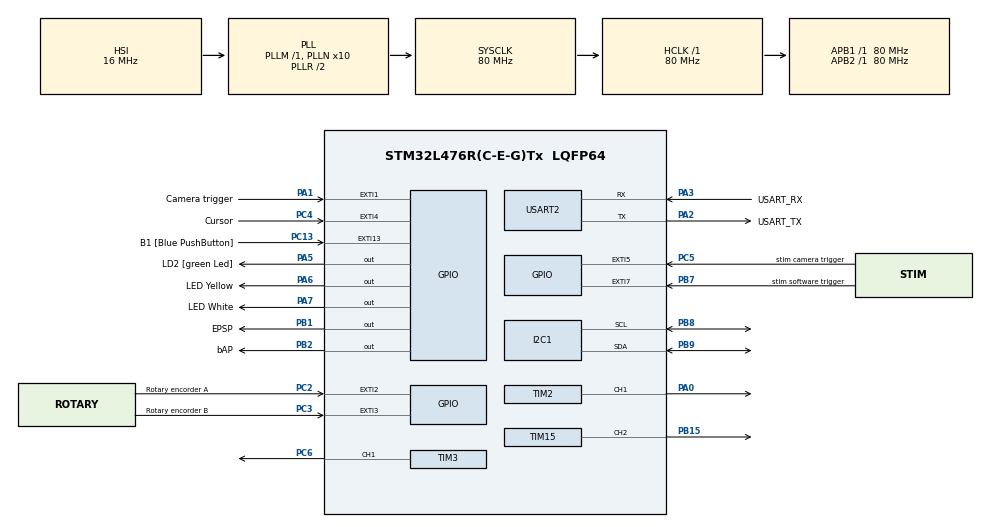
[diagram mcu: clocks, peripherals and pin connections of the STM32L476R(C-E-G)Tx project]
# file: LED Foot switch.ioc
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I2C1.Timing=0x10909CEC
Mcu.Family=STM32L4
Mcu.Name=STM32L476R(C-E-G)Tx
Mcu.Package=LQFP64
NVIC.EXTI15_10_IRQn=true\:4\:0\:true\:false\:true\:true\:true\:true
NVIC.EXTI1_IRQn=true\:1\:0\:true\:false\:true\:true\:true\:true
NVIC.EXTI2_IRQn=true\:3\:0\:true\:false\:true\:true\:true\:true
NVIC.EXTI3_IRQn=true\:3\:0\:true\:false\:true\:true\:true\:true
NVIC.EXTI4_IRQn=true\:3\:0\:true\:false\:true\:true\:true\:true
NVIC.EXTI9_5_IRQn=true\:3\:0\:true\:false\:true\:true\:true\:true
NVIC.PriorityGroup=NVIC_PRIORITYGROUP_4
NVIC.TIM6_DAC_IRQn=true\:0\:0\:false\:false\:true\:true\:true\:true
NVIC.TIM7_IRQn=true\:0\:0\:false\:false\:true\:true\:true\:true
PA0.Signal=S_TIM2_CH1
PA1.GPIO_Label=Camera trigger
PA1.GPIO_PuPd=GPIO_PULLUP
PA1.Signal=GPXTI1
PA13\ (JTMS-SWDIO).GPIO_Label=TMS
PA13\ (JTMS-SWDIO).Mode=Serial_Wire
PA13\ (JTMS-SWDIO).Signal=SYS_JTMS-SWDIO
PA14\ (JTCK-SWCLK).GPIO_Label=TCK
PA14\ (JTCK-SWCLK).Mode=Serial_Wire
PA14\ (JTCK-SWCLK).Signal=SYS_JTCK-SWCLK
PA2.GPIO_Label=USART_TX
PA2.GPIO_Mode=GPIO_MODE_AF_PP
PA2.GPIO_PuPd=GPIO_NOPULL
PA2.GPIO_Speed=GPIO_SPEED_FREQ_VERY_HIGH
PA2.Mode=Asynchronous
PA2.Signal=USART2_TX
PA3.GPIO_Label=USART_RX
PA3.GPIO_Mode=GPIO_MODE_AF_PP
PA3.GPIO_PuPd=GPIO_NOPULL
PA3.GPIO_Speed=GPIO_SPEED_FREQ_VERY_HIGH
PA3.Mode=Asynchronous
PA3.Signal=USART2_RX
PA5.GPIO_Label=LD2 [green Led]
PA5.GPIO_ModeDefaultOutputPP=GPIO_MODE_OUTPUT_PP
PA5.GPIO_PuPd=GPIO_NOPULL
PA5.GPIO_Speed=GPIO_SPEED_FREQ_LOW
PA5.Signal=GPIO_Output
PA6.GPIO_Label=LED Yellow
PA6.Signal=GPIO_Output
PA7.GPIO_Label=LED White
PA7.Signal=GPIO_Output
PB1.GPIO_Label=EPSP
PB1.GPIO_PuPd=GPIO_NOPULL
PB1.PinState=GPIO_PIN_RESET
PB1.Signal=GPIO_Output
PB15.Signal=S_TIM15_CH2
PB2.GPIO_Label=bAP
PB2.Signal=GPIO_Output
PB3\ (JTDO-TRACESWO).GPIO_Label=SWO
PB3\ (JTDO-TRACESWO).Signal=SYS_JTDO-SWO
PB6.Signal=S_TIM4_CH1
PB7.GPIO_Label=stim software trigger
PB7.GPIO_ModeDefaultEXTI=GPIO_MODE_IT_RISING
PB7.GPIO_PuPd=GPIO_PULLUP
PB7.Signal=GPXTI7
PB8.GPIO_Pu=GPIO_PULLUP
PB8.Mode=I2C
PB8.Signal=I2C1_SCL
PB9.GPIO_Pu=GPIO_PULLUP
PB9.Mode=I2C
PB9.Signal=I2C1_SDA
PC13.GPIO_Label=B1 [Blue PushButton]
PC13.GPIO_ModeDefaultEXTI=GPIO_MODE_IT_FALLING
PC13.GPIO_PuPd=GPIO_PULLUP
PC13.Signal=GPXTI13
PC14-OSC32_IN\ (PC14).Mode=LSE-External-Oscillator
PC14-OSC32_IN\ (PC14).Signal=RCC_OSC32_IN
PC15-OSC32_OUT\ (PC15).Mode=LSE-External-Oscillator
PC15-OSC32_OUT\ (PC15).Signal=RCC_OSC32_OUT
PC2.GPIO_Label=Rotary encorder A
PC2.GPIO_ModeDefaultEXTI=GPIO_MODE_IT_RISING_FALLING
PC2.GPIO_PuPd=GPIO_PULLUP
PC2.Signal=GPXTI2
PC3.GPIO_Label=Rotary encorder B
PC3.GPIO_ModeDefaultEXTI=GPIO_MODE_IT_RISING_FALLING
PC3.GPIO_PuPd=GPIO_PULLUP
PC3.Signal=GPXTI3
PC4.GPIO_Label=Cursor
PC4.GPIO_ModeDefaultEXTI=GPIO_MODE_IT_RISING
PC4.GPIO_PuPd=GPIO_PULLUP
PC4.Signal=GPXTI4
PC5.GPIO_Label=stim camera trigger
PC5.GPIO_ModeDefaultEXTI=GPIO_MODE_IT_FALLING
PC5.GPIO_PuPd=GPIO_PULLUP
PC5.Signal=GPXTI5
PC6.Signal=S_TIM3_CH1
PH0-OSC_IN\ (PH0).Signal=RCC_OSC_IN
PH1-OSC_OUT\ (PH1).Signal=RCC_OSC_OUT
ProjectManager.HeapSize=0x200
ProjectManager.StackSize=0x400
ProjectManager.TargetToolchain=STM32CubeIDE
RCC.ADCFreq_Value=64000000
RCC.AHBFreq_Value=80000000
RCC.APB1Freq_Value=80000000
RCC.APB1TimFreq_Value=80000000
RCC.APB2Freq_Value=80000000
RCC.APB2TimFreq_Value=80000000
RCC.CortexFreq_Value=80000000
RCC.HCLKFreq_Value=80000000
RCC.HSE_VALUE=8000000
RCC.HSI_VALUE=16000000
RCC.MSI_VALUE=4000000
RCC.PLLN=10
RCC.PLLSourceVirtual=RCC_PLLSOURCE_HSI
RCC.PREFETCH_ENABLE=1
RCC.SYSCLKFreq_VALUE=80000000
RCC.SYSCLKSource=RCC_SYSCLKSOURCE_PLLCLK
RCC.USBFreq_Value=64000000
RCC.VCOOutputFreq_Value=160000000
SH.S_TIM15_CH2.0=TIM15_CH2,PWM Generation2 CH2
SH.S_TIM2_CH1.0=TIM2_CH1,PWM Generation1 CH1
SH.S_TIM3_CH1.0=TIM3_CH1,PWM Generation1 CH1
SH.S_TIM4_CH1.0=TIM4_CH1
TIM15.BreakPolarity=TIM_BREAKPOLARITY_HIGH
TIM15.Channel-PWM\ Generation2\ CH2=TIM_CHANNEL_2
TIM15.OCIdleState_2=TIM_OCIDLESTATE_RESET
TIM15.OCPolarity_2=TIM_OCPOLARITY_HIGH
TIM15.Period=10000
TIM15.Prescaler=7
TIM15.Pulse-PWM\ Generation2\ CH2=200
TIM17.AutoReloadPreload=TIM_AUTORELOAD_PRELOAD_DISABLE
TIM17.Period=79
TIM2.AutoReloadPreload=TIM_AUTORELOAD_PRELOAD_DISABLE
TIM2.Channel-PWM\ Generation1\ CH1=TIM_CHANNEL_1
TIM2.OC1Preload_PWM=DISABLE
TIM2.OCFastMode_PWM-PWM\ Generation1\ CH1=TIM_OCFAST_DISABLE
TIM2.Period=20089
TIM2.Prescaler=7
TIM2.Pulse-PWM\ Generation1\ CH1=2000
TIM3.Channel-PWM\ Generation1\ CH1=TIM_CHANNEL_1
TIM3.OC1Preload_PWM=DISABLE
TIM3.Period=20089
TIM3.Prescaler=7
TIM3.Pulse-PWM\ Generation1\ CH1=2000
TIM6.AutoReloadPreload=TIM_AUTORELOAD_PRELOAD_DISABLE
TIM6.Period=1999
TIM6.Prescaler=7999
TIM6.TIM_MasterOutputTrigger=TIM_TRGO_RESET
TIM7.Period=1999
TIM7.Prescaler=7999
TIM7.TIM_MasterOutputTrigger=TIM_TRGO_RESET
USART2.VirtualMode-Asynchronous=VM_ASYNC
VP_TIM15_VS_ClockSourceINT.Mode=Internal
VP_TIM17_VS_ClockSourceINT.Mode=Enable_Timer
VP_TIM2_VS_ClockSourceINT.Mode=Internal
VP_TIM3_VS_ClockSourceINT.Mode=Internal
VP_TIM4_VS_ClockSourceINT.Mode=Internal
VP_TIM5_VS_ClockSourceINT.Mode=Internal
VP_TIM6_VS_ClockSourceINT.Mode=Enable_Timer
VP_TIM7_VS_ClockSourceINT.Mode=Enable_Timer
board=NUCLEO-L476RG

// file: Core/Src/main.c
/* USER CODE BEGIN Header */

/*
 * Laser controller
 * Kenichi Miyazaki
 * 2023/12/28
 * Ver 0.190 <<stable>>
 */

/**
  ******************************************************************************
  * @file           : main.c
  * @brief          : Main program body
  ******************************************************************************
  * @attention
  *
  * <h2><center>&copy; Copyright (c) 2020 STMicroelectronics.
  * All rights reserved.</center></h2>
  *
  * This software component is licensed by ST under BSD 3-Clause license,
  * the "License"; You may not use this file except in compliance with the
  * License. You may obtain a copy of the License at:
  *                        opensource.org/licenses/BSD-3-Clause
  *
  ******************************************************************************
  */

/* USER CODE END Header */
#include "main.h"

/* USER CODE BEGIN Includes */
#include "i2c-lcd.h"
#include "display_lcd.h"
/* USER CODE END Includes */

I2C_HandleTypeDef hi2c1;

TIM_HandleTypeDef htim2;
TIM_HandleTypeDef htim3;
TIM_HandleTypeDef htim4;
TIM_HandleTypeDef htim5;
TIM_HandleTypeDef htim6;
TIM_HandleTypeDef htim7;
TIM_HandleTypeDef htim15;
TIM_HandleTypeDef htim17;

UART_HandleTypeDef huart2;

/* USER CODE BEGIN PV */

//default settings
int LED_blink = 1;
int quick_select = 1;
int current_panel = 1;	// 1 = recoding, 2 = mode select, 3 = setting
int cur_select = 1;		//cursor position
int current_mode = 0; 	// 0 = normal, 1 = ch1 short recording, 2 = ch2 short recording, 3 = short recording mode with long delay.
int CW_mode = 0;		// 0 = normal(pulse), 1 = ch1 continuous wave, 2 = ch2 CW, 3 ch1&2 CW

int PWM_delay = 650;	//us  delay between the trigger signal and the first laser pulse
int PWM_shift = 1000;	//us
int PWM_length = 104;	//ms
int PWM_length_sub = 10; //ms  Duration for 2ch in sub channel short recording mode
int PWM1_width = 200;	//us
int PWM2_width = 200;	//us
int PWM_LED_width = 20;	//us   Foot switch frequency
float PWM1_FQ = 497.7;	//Hz
float PWM2_FQ = 497.7;	//Hz

/* USER CODE END PV */

void SystemClock_Config(void);
static void MX_GPIO_Init(void);
static void MX_TIM2_Init(void);
static void MX_TIM3_Init(void);
static void MX_TIM7_Init(void);
static void MX_USART2_UART_Init(void);
static void MX_I2C1_Init(void);
static void MX_TIM6_Init(void);
static void MX_TIM17_Init(void);
static void MX_TIM4_Init(void);
static void MX_TIM5_Init(void);
static void MX_TIM15_Init(void);
/* USER CODE BEGIN PFP */
void us_wait(uint32_t us);
void ms_wait(uint32_t ms);

/* USER CODE END PFP */

int main(void)
{

  /* MCU Configuration--------------------------------------------------------*/

  /* Reset of all peripherals, Initializes the Flash interface and the Systick. */
  HAL_Init();

  /* Configure the system clock */
  SystemClock_Config();

  /* Initialize all configured peripherals */
  MX_GPIO_Init();
  MX_TIM2_Init();
  MX_TIM3_Init();
  MX_TIM7_Init();
  MX_USART2_UART_Init();
  MX_I2C1_Init();
  MX_TIM6_Init();
  MX_TIM17_Init();
  MX_TIM4_Init();
  MX_TIM5_Init();
  MX_TIM15_Init();
  /* USER CODE BEGIN 2 */
  HAL_Delay(10);
  HD44780_Init(2);
  HD44780_Clear();

  HAL_Delay(10);
  HD44780_SetCursor(0,0);
  HD44780_PrintStr("LASER Controller");
  HAL_Delay(2000);
  HD44780_SetCursor(7,1);
  HD44780_PrintStr("ver 0.190");
  HAL_Delay(2000);

  write_LCD(1);
  write_cur(1);

  HAL_TIM_PWM_Start(&htim15, TIM_CHANNEL_2);					//start Foot pedal pulses

  /* USER CODE END 2 */

  /* Infinite loop */
  /* USER CODE BEGIN WHILE */
  while (1)
  {
	  //blink LED for quick mode select
	  for(int i = 1; i <= LED_blink; i++){
		  HAL_GPIO_WritePin(GPIOA, GPIO_PIN_5, GPIO_PIN_SET);
		  HAL_Delay(100);
		  HAL_GPIO_WritePin(GPIOA, GPIO_PIN_5, GPIO_PIN_RESET);
		  HAL_Delay(100);
	  }
	HAL_Delay(800);
    /* USER CODE END WHILE */

  }
}

void SystemClock_Config(void)
{
  RCC_OscInitTypeDef RCC_OscInitStruct = {0};
  RCC_ClkInitTypeDef RCC_ClkInitStruct = {0};

  /** Configure the main internal regulator output voltage
  */
  if (HAL_PWREx_ControlVoltageScaling(PWR_REGULATOR_VOLTAGE_SCALE1) != HAL_OK)
  {
    Error_Handler();
  }

  /** Initializes the RCC Oscillators according to the specified parameters
  * in the RCC_OscInitTypeDef structure.
  */
  RCC_OscInitStruct.OscillatorType = RCC_OSCILLATORTYPE_HSI;
  RCC_OscInitStruct.HSIState = RCC_HSI_ON;
  RCC_OscInitStruct.HSICalibrationValue = RCC_HSICALIBRATION_DEFAULT;
  RCC_OscInitStruct.PLL.PLLState = RCC_PLL_ON;
  RCC_OscInitStruct.PLL.PLLSource = RCC_PLLSOURCE_HSI;
  RCC_OscInitStruct.PLL.PLLM = 1;
  RCC_OscInitStruct.PLL.PLLN = 10;
  RCC_OscInitStruct.PLL.PLLP = RCC_PLLP_DIV7;
  RCC_OscInitStruct.PLL.PLLQ = RCC_PLLQ_DIV2;
  RCC_OscInitStruct.PLL.PLLR = RCC_PLLR_DIV2;
  if (HAL_RCC_OscConfig(&RCC_OscInitStruct) != HAL_OK)
  {
    Error_Handler();
  }

  /** Initializes the CPU, AHB and APB buses clocks
  */
  RCC_ClkInitStruct.ClockType = RCC_CLOCKTYPE_HCLK|RCC_CLOCKTYPE_SYSCLK
                              |RCC_CLOCKTYPE_PCLK1|RCC_CLOCKTYPE_PCLK2;
  RCC_ClkInitStruct.SYSCLKSource = RCC_SYSCLKSOURCE_PLLCLK;
  RCC_ClkInitStruct.AHBCLKDivider = RCC_SYSCLK_DIV1;
  RCC_ClkInitStruct.APB1CLKDivider = RCC_HCLK_DIV1;
  RCC_ClkInitStruct.APB2CLKDivider = RCC_HCLK_DIV1;

  if (HAL_RCC_ClockConfig(&RCC_ClkInitStruct, FLASH_LATENCY_4) != HAL_OK)
  {
    Error_Handler();
  }
}

static void MX_I2C1_Init(void)
{

  hi2c1.Instance = I2C1;
  hi2c1.Init.Timing = 0x10909CEC;
  hi2c1.Init.OwnAddress1 = 0;
  hi2c1.Init.AddressingMode = I2C_ADDRESSINGMODE_7BIT;
  hi2c1.Init.DualAddressMode = I2C_DUALADDRESS_DISABLE;
  hi2c1.Init.OwnAddress2 = 0;
  hi2c1.Init.OwnAddress2Masks = I2C_OA2_NOMASK;
  hi2c1.Init.GeneralCallMode = I2C_GENERALCALL_DISABLE;
  hi2c1.Init.NoStretchMode = I2C_NOSTRETCH_DISABLE;
  if (HAL_I2C_Init(&hi2c1) != HAL_OK)
  {
    Error_Handler();
  }

  /** Configure Analogue filter
  */
  if (HAL_I2CEx_ConfigAnalogFilter(&hi2c1, I2C_ANALOGFILTER_ENABLE) != HAL_OK)
  {
    Error_Handler();
  }

  /** Configure Digital filter
  */
  if (HAL_I2CEx_ConfigDigitalFilter(&hi2c1, 0) != HAL_OK)
  {
    Error_Handler();
  }

}

static void MX_TIM2_Init(void)
{

  /* USER CODE BEGIN TIM2_Init 0 */

	//This is for PMW pulses of the laser 1

  /* USER CODE END TIM2_Init 0 */

  TIM_ClockConfigTypeDef sClockSourceConfig = {0};
  TIM_MasterConfigTypeDef sMasterConfig = {0};
  TIM_OC_InitTypeDef sConfigOC = {0};

  htim2.Instance = TIM2;
  htim2.Init.Prescaler = 7;
  htim2.Init.CounterMode = TIM_COUNTERMODE_UP;
  htim2.Init.Period = 20089;
  htim2.Init.ClockDivision = TIM_CLOCKDIVISION_DIV1;
  htim2.Init.AutoReloadPreload = TIM_AUTORELOAD_PRELOAD_DISABLE;
  if (HAL_TIM_Base_Init(&htim2) != HAL_OK)
  {
    Error_Handler();
  }
  sClockSourceConfig.ClockSource = TIM_CLOCKSOURCE_INTERNAL;
  if (HAL_TIM_ConfigClockSource(&htim2, &sClockSourceConfig) != HAL_OK)
  {
    Error_Handler();
  }
  if (HAL_TIM_PWM_Init(&htim2) != HAL_OK)
  {
    Error_Handler();
  }
  sMasterConfig.MasterOutputTrigger = TIM_TRGO_RESET;
  sMasterConfig.MasterSlaveMode = TIM_MASTERSLAVEMODE_DISABLE;
  if (HAL_TIMEx_MasterConfigSynchronization(&htim2, &sMasterConfig) != HAL_OK)
  {
    Error_Handler();
  }
  sConfigOC.OCMode = TIM_OCMODE_PWM1;
  sConfigOC.Pulse = 2000;
  sConfigOC.OCPolarity = TIM_OCPOLARITY_HIGH;
  sConfigOC.OCFastMode = TIM_OCFAST_DISABLE;
  if (HAL_TIM_PWM_ConfigChannel(&htim2, &sConfigOC, TIM_CHANNEL_1) != HAL_OK)
  {
    Error_Handler();
  }
  __HAL_TIM_DISABLE_OCxPRELOAD(&htim2, TIM_CHANNEL_1);
  /* USER CODE BEGIN TIM2_Init 2 */

  //for Laser 1 PWM

  /* USER CODE END TIM2_Init 2 */
  HAL_TIM_MspPostInit(&htim2);

}

static void MX_TIM3_Init(void)
{

  /* USER CODE BEGIN TIM3_Init 0 */

	//This is for PMW pulses of the laser 2

  /* USER CODE END TIM3_Init 0 */

  TIM_ClockConfigTypeDef sClockSourceConfig = {0};
  TIM_MasterConfigTypeDef sMasterConfig = {0};
  TIM_OC_InitTypeDef sConfigOC = {0};

  htim3.Instance = TIM3;
  htim3.Init.Prescaler = 7;
  htim3.Init.CounterMode = TIM_COUNTERMODE_UP;
  htim3.Init.Period = 20089;
  htim3.Init.ClockDivision = TIM_CLOCKDIVISION_DIV1;
  htim3.Init.AutoReloadPreload = TIM_AUTORELOAD_PRELOAD_DISABLE;
  if (HAL_TIM_Base_Init(&htim3) != HAL_OK)
  {
    Error_Handler();
  }
  sClockSourceConfig.ClockSource = TIM_CLOCKSOURCE_INTERNAL;
  if (HAL_TIM_ConfigClockSource(&htim3, &sClockSourceConfig) != HAL_OK)
  {
    Error_Handler();
  }
  if (HAL_TIM_PWM_Init(&htim3) != HAL_OK)
  {
    Error_Handler();
  }
  sMasterConfig.MasterOutputTrigger = TIM_TRGO_RESET;
  sMasterConfig.MasterSlaveMode = TIM_MASTERSLAVEMODE_DISABLE;
  if (HAL_TIMEx_MasterConfigSynchronization(&htim3, &sMasterConfig) != HAL_OK)
  {
    Error_Handler();
  }
  sConfigOC.OCMode = TIM_OCMODE_PWM1;
  sConfigOC.Pulse = 2000;
  sConfigOC.OCPolarity = TIM_OCPOLARITY_HIGH;
  sConfigOC.OCFastMode = TIM_OCFAST_DISABLE;
  if (HAL_TIM_PWM_ConfigChannel(&htim3, &sConfigOC, TIM_CHANNEL_1) != HAL_OK)
  {
    Error_Handler();
  }
  __HAL_TIM_DISABLE_OCxPRELOAD(&htim3, TIM_CHANNEL_1);
  /* USER CODE BEGIN TIM3_Init 2 */

  //for Laser 2 PWM

  /* USER CODE END TIM3_Init 2 */
  HAL_TIM_MspPostInit(&htim3);

}

static void MX_TIM4_Init(void)
{

  TIM_ClockConfigTypeDef sClockSourceConfig = {0};
  TIM_MasterConfigTypeDef sMasterConfig = {0};

  htim4.Instance = TIM4;
  htim4.Init.Prescaler = 0;
  htim4.Init.CounterMode = TIM_COUNTERMODE_UP;
  htim4.Init.Period = 65535;
  htim4.Init.ClockDivision = TIM_CLOCKDIVISION_DIV1;
  htim4.Init.AutoReloadPreload = TIM_AUTORELOAD_PRELOAD_DISABLE;
  if (HAL_TIM_Base_Init(&htim4) != HAL_OK)
  {
    Error_Handler();
  }
  sClockSourceConfig.ClockSource = TIM_CLOCKSOURCE_INTERNAL;
  if (HAL_TIM_ConfigClockSource(&htim4, &sClockSourceConfig) != HAL_OK)
  {
    Error_Handler();
  }
  sMasterConfig.MasterOutputTrigger = TIM_TRGO_RESET;
  sMasterConfig.MasterSlaveMode = TIM_MASTERSLAVEMODE_DISABLE;
  if (HAL_TIMEx_MasterConfigSynchronization(&htim4, &sMasterConfig) != HAL_OK)
  {
    Error_Handler();
  }

}

static void MX_TIM5_Init(void)
{

  TIM_ClockConfigTypeDef sClockSourceConfig = {0};
  TIM_MasterConfigTypeDef sMasterConfig = {0};

  htim5.Instance = TIM5;
  htim5.Init.Prescaler = 0;
  htim5.Init.CounterMode = TIM_COUNTERMODE_UP;
  htim5.Init.Period = 4294967295;
  htim5.Init.ClockDivision = TIM_CLOCKDIVISION_DIV1;
  htim5.Init.AutoReloadPreload = TIM_AUTORELOAD_PRELOAD_DISABLE;
  if (HAL_TIM_Base_Init(&htim5) != HAL_OK)
  {
    Error_Handler();
  }
  sClockSourceConfig.ClockSource = TIM_CLOCKSOURCE_INTERNAL;
  if (HAL_TIM_ConfigClockSource(&htim5, &sClockSourceConfig) != HAL_OK)
  {
    Error_Handler();
  }
  sMasterConfig.MasterOutputTrigger = TIM_TRGO_RESET;
  sMasterConfig.MasterSlaveMode = TIM_MASTERSLAVEMODE_DISABLE;
  if (HAL_TIMEx_MasterConfigSynchronization(&htim5, &sMasterConfig) != HAL_OK)
  {
    Error_Handler();
  }

}

static void MX_TIM6_Init(void)
{

  TIM_MasterConfigTypeDef sMasterConfig = {0};

  /* USER CODE BEGIN TIM6_Init 1 */

  //This is for stopping the laser 1 by timer interruption

  /* USER CODE END TIM6_Init 1 */
  htim6.Instance = TIM6;
  htim6.Init.Prescaler = 7999;
  htim6.Init.CounterMode = TIM_COUNTERMODE_UP;
  htim6.Init.Period = 1999;
  htim6.Init.AutoReloadPreload = TIM_AUTORELOAD_PRELOAD_DISABLE;
  if (HAL_TIM_Base_Init(&htim6) != HAL_OK)
  {
    Error_Handler();
  }
  sMasterConfig.MasterOutputTrigger = TIM_TRGO_RESET;
  sMasterConfig.MasterSlaveMode = TIM_MASTERSLAVEMODE_DISABLE;
  if (HAL_TIMEx_MasterConfigSynchronization(&htim6, &sMasterConfig) != HAL_OK)
  {
    Error_Handler();
  }

}

static void MX_TIM7_Init(void)
{

  /* USER CODE BEGIN TIM7_Init 0 */

	//This is for stopping the laser 2 by timer interruption

  /* USER CODE END TIM7_Init 0 */

  TIM_MasterConfigTypeDef sMasterConfig = {0};

  htim7.Instance = TIM7;
  htim7.Init.Prescaler = 7999;
  htim7.Init.CounterMode = TIM_COUNTERMODE_UP;
  htim7.Init.Period = 1999;
  htim7.Init.AutoReloadPreload = TIM_AUTORELOAD_PRELOAD_DISABLE;
  if (HAL_TIM_Base_Init(&htim7) != HAL_OK)
  {
    Error_Handler();
  }
  sMasterConfig.MasterOutputTrigger = TIM_TRGO_RESET;
  sMasterConfig.MasterSlaveMode = TIM_MASTERSLAVEMODE_DISABLE;
  if (HAL_TIMEx_MasterConfigSynchronization(&htim7, &sMasterConfig) != HAL_OK)
  {
    Error_Handler();
  }

}

static void MX_TIM15_Init(void)
{

  TIM_ClockConfigTypeDef sClockSourceConfig = {0};
  TIM_MasterConfigTypeDef sMasterConfig = {0};
  TIM_OC_InitTypeDef sConfigOC = {0};
  TIM_BreakDeadTimeConfigTypeDef sBreakDeadTimeConfig = {0};

  htim15.Instance = TIM15;
  htim15.Init.Prescaler = 7;
  htim15.Init.CounterMode = TIM_COUNTERMODE_UP;
  htim15.Init.Period = 10000;
  htim15.Init.ClockDivision = TIM_CLOCKDIVISION_DIV1;
  htim15.Init.RepetitionCounter = 0;
  htim15.Init.AutoReloadPreload = TIM_AUTORELOAD_PRELOAD_DISABLE;
  if (HAL_TIM_Base_Init(&htim15) != HAL_OK)
  {
    Error_Handler();
  }
  sClockSourceConfig.ClockSource = TIM_CLOCKSOURCE_INTERNAL;
  if (HAL_TIM_ConfigClockSource(&htim15, &sClockSourceConfig) != HAL_OK)
  {
    Error_Handler();
  }
  if (HAL_TIM_PWM_Init(&htim15) != HAL_OK)
  {
    Error_Handler();
  }
  sMasterConfig.MasterOutputTrigger = TIM_TRGO_RESET;
  sMasterConfig.MasterSlaveMode = TIM_MASTERSLAVEMODE_DISABLE;
  if (HAL_TIMEx_MasterConfigSynchronization(&htim15, &sMasterConfig) != HAL_OK)
  {
    Error_Handler();
  }
  sConfigOC.OCMode = TIM_OCMODE_PWM1;
  sConfigOC.Pulse = 200;
  sConfigOC.OCPolarity = TIM_OCPOLARITY_HIGH;
  sConfigOC.OCNPolarity = TIM_OCNPOLARITY_HIGH;
  sConfigOC.OCFastMode = TIM_OCFAST_DISABLE;
  sConfigOC.OCIdleState = TIM_OCIDLESTATE_RESET;
  sConfigOC.OCNIdleState = TIM_OCNIDLESTATE_RESET;
  if (HAL_TIM_PWM_ConfigChannel(&htim15, &sConfigOC, TIM_CHANNEL_2) != HAL_OK)
  {
    Error_Handler();
  }
  sBreakDeadTimeConfig.OffStateRunMode = TIM_OSSR_DISABLE;
  sBreakDeadTimeConfig.OffStateIDLEMode = TIM_OSSI_DISABLE;
  sBreakDeadTimeConfig.LockLevel = TIM_LOCKLEVEL_OFF;
  sBreakDeadTimeConfig.DeadTime = 0;
  sBreakDeadTimeConfig.BreakState = TIM_BREAK_DISABLE;
  sBreakDeadTimeConfig.BreakPolarity = TIM_BREAKPOLARITY_HIGH;
  sBreakDeadTimeConfig.AutomaticOutput = TIM_AUTOMATICOUTPUT_DISABLE;
  if (HAL_TIMEx_ConfigBreakDeadTime(&htim15, &sBreakDeadTimeConfig) != HAL_OK)
  {
    Error_Handler();
  }
  HAL_TIM_MspPostInit(&htim15);

}

static void MX_TIM17_Init(void)
{

  /* USER CODE BEGIN TIM17_Init 0 */

	// This is for ms and us timer for delay.

  /* USER CODE END TIM17_Init 0 */

  htim17.Instance = TIM17;
  htim17.Init.Prescaler = 0;
  htim17.Init.CounterMode = TIM_COUNTERMODE_UP;
  htim17.Init.Period = 79;
  htim17.Init.ClockDivision = TIM_CLOCKDIVISION_DIV1;
  htim17.Init.RepetitionCounter = 0;
  htim17.Init.AutoReloadPreload = TIM_AUTORELOAD_PRELOAD_DISABLE;
  if (HAL_TIM_Base_Init(&htim17) != HAL_OK)
  {
    Error_Handler();
  }

}

static void MX_USART2_UART_Init(void)
{

  huart2.Instance = USART2;
  huart2.Init.BaudRate = 115200;
  huart2.Init.WordLength = UART_WORDLENGTH_8B;
  huart2.Init.StopBits = UART_STOPBITS_1;
  huart2.Init.Parity = UART_PARITY_NONE;
  huart2.Init.Mode = UART_MODE_TX_RX;
  huart2.Init.HwFlowCtl = UART_HWCONTROL_NONE;
  huart2.Init.OverSampling = UART_OVERSAMPLING_16;
  huart2.Init.OneBitSampling = UART_ONE_BIT_SAMPLE_DISABLE;
  huart2.AdvancedInit.AdvFeatureInit = UART_ADVFEATURE_NO_INIT;
  if (HAL_UART_Init(&huart2) != HAL_OK)
  {
    Error_Handler();
  }

}

static void MX_GPIO_Init(void)
{
  GPIO_InitTypeDef GPIO_InitStruct = {0};

  /* GPIO Ports Clock Enable */
  __HAL_RCC_GPIOC_CLK_ENABLE();
  __HAL_RCC_GPIOH_CLK_ENABLE();
  __HAL_RCC_GPIOA_CLK_ENABLE();
  __HAL_RCC_GPIOB_CLK_ENABLE();

  /*Configure GPIO pin Output Level */
  HAL_GPIO_WritePin(GPIOA, LD2_Pin|LED_Yellow_Pin|LED_White_Pin, GPIO_PIN_RESET);

  /*Configure GPIO pin Output Level */
  HAL_GPIO_WritePin(GPIOB, EPSP_Pin|bAP_Pin, GPIO_PIN_RESET);

  /*Configure GPIO pins : B1_Pin stim_camera_trigger_Pin */
  GPIO_InitStruct.Pin = B1_Pin|stim_camera_trigger_Pin;
  GPIO_InitStruct.Mode = GPIO_MODE_IT_FALLING;
  GPIO_InitStruct.Pull = GPIO_PULLUP;
  HAL_GPIO_Init(GPIOC, &GPIO_InitStruct);

  /*Configure GPIO pins : Rotary_encorder_A_Pin Rotary_encorder_B_Pin */
  GPIO_InitStruct.Pin = Rotary_encorder_A_Pin|Rotary_encorder_B_Pin;
  GPIO_InitStruct.Mode = GPIO_MODE_IT_RISING_FALLING;
  GPIO_InitStruct.Pull = GPIO_PULLUP;
  HAL_GPIO_Init(GPIOC, &GPIO_InitStruct);

  /*Configure GPIO pin : Camera_trigger_Pin */
  GPIO_InitStruct.Pin = Camera_trigger_Pin;
  GPIO_InitStruct.Mode = GPIO_MODE_IT_RISING;
  GPIO_InitStruct.Pull = GPIO_PULLUP;
  HAL_GPIO_Init(Camera_trigger_GPIO_Port, &GPIO_InitStruct);

  /*Configure GPIO pins : LD2_Pin LED_Yellow_Pin LED_White_Pin */
  GPIO_InitStruct.Pin = LD2_Pin|LED_Yellow_Pin|LED_White_Pin;
  GPIO_InitStruct.Mode = GPIO_MODE_OUTPUT_PP;
  GPIO_InitStruct.Pull = GPIO_NOPULL;
  GPIO_InitStruct.Speed = GPIO_SPEED_FREQ_LOW;
  HAL_GPIO_Init(GPIOA, &GPIO_InitStruct);

  /*Configure GPIO pin : Cursor_Pin */
  GPIO_InitStruct.Pin = Cursor_Pin;
  GPIO_InitStruct.Mode = GPIO_MODE_IT_RISING;
  GPIO_InitStruct.Pull = GPIO_PULLUP;
  HAL_GPIO_Init(Cursor_GPIO_Port, &GPIO_InitStruct);

  /*Configure GPIO pins : EPSP_Pin bAP_Pin */
  GPIO_InitStruct.Pin = EPSP_Pin|bAP_Pin;
  GPIO_InitStruct.Mode = GPIO_MODE_OUTPUT_PP;
  GPIO_InitStruct.Pull = GPIO_NOPULL;
  GPIO_InitStruct.Speed = GPIO_SPEED_FREQ_LOW;
  HAL_GPIO_Init(GPIOB, &GPIO_InitStruct);

  /*Configure GPIO pin : stim_software_trigger_Pin */
  GPIO_InitStruct.Pin = stim_software_trigger_Pin;
  GPIO_InitStruct.Mode = GPIO_MODE_IT_RISING;
  GPIO_InitStruct.Pull = GPIO_PULLUP;
  HAL_GPIO_Init(stim_software_trigger_GPIO_Port, &GPIO_InitStruct);

  /* EXTI interrupt init*/
  HAL_NVIC_SetPriority(EXTI1_IRQn, 1, 0);
  HAL_NVIC_EnableIRQ(EXTI1_IRQn);

  HAL_NVIC_SetPriority(EXTI2_IRQn, 3, 0);
  HAL_NVIC_EnableIRQ(EXTI2_IRQn);

  HAL_NVIC_SetPriority(EXTI3_IRQn, 3, 0);
  HAL_NVIC_EnableIRQ(EXTI3_IRQn);

  HAL_NVIC_SetPriority(EXTI4_IRQn, 3, 0);
  HAL_NVIC_EnableIRQ(EXTI4_IRQn);

  HAL_NVIC_SetPriority(EXTI9_5_IRQn, 3, 0);
  HAL_NVIC_EnableIRQ(EXTI9_5_IRQn);

  HAL_NVIC_SetPriority(EXTI15_10_IRQn, 4, 0);
  HAL_NVIC_EnableIRQ(EXTI15_10_IRQn);

}

/* USER CODE BEGIN 4 */

//I can't use the prescaler because in the second time timer has delay which is the same as the prescaler time. I couldn't figure out why.
void us_wait(uint32_t us) {
	TIM17->SR = 0;
	TIM17->PSC = 0;											//Prescaler
	//TIM17->ARR = 79;
	TIM17->EGR = TIM_EGR_UG;									//reset timer counter and prescaler counter

	TIM17->CR1 |= TIM_CR1_CEN;								//counter enable

	for(uint32_t i=0; i<us; i++){
		while( !(TIM17->SR & TIM_SR_UIF) );
		TIM17->SR &= ~TIM_SR_UIF;
		}
	TIM17->CR1 &= ~TIM_CR1_CEN;								//counter disable

}

void ms_wait(uint32_t ms) {
	TIM17->SR = 0;
	TIM17->PSC = 999;										//Prescaler
	//TIM17->ARR = 79;
	TIM17->EGR = TIM_EGR_UG;									//reset timer counter and prescaler counter

	TIM17->CR1 |= TIM_CR1_CEN;								//counter enable

	for(uint32_t i=0; i<ms; i++){
		while( !(TIM17->SR & TIM_SR_UIF) );
		TIM17->SR &= ~TIM_SR_UIF;
		}
	TIM17->CR1 &= ~TIM_CR1_CEN;								//counter disable

}

/* USER CODE END 4 */

void Error_Handler(void)
{
}
